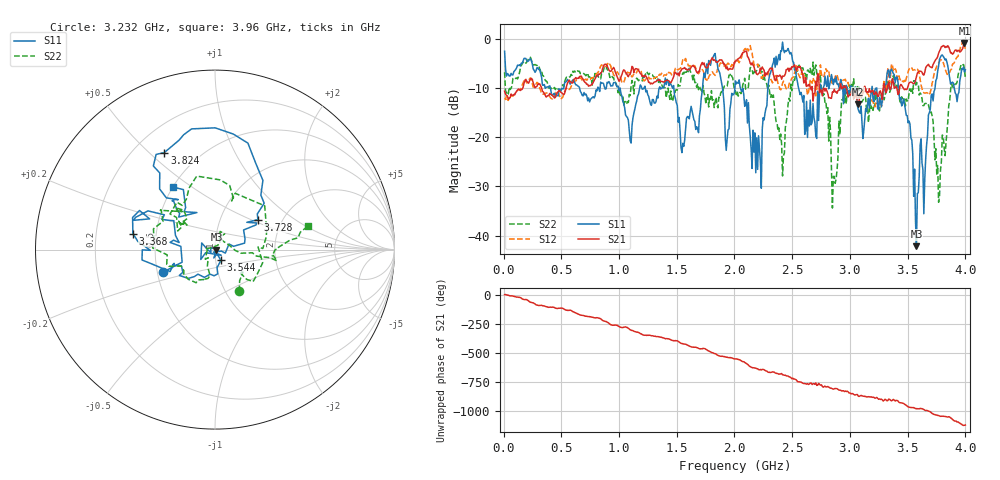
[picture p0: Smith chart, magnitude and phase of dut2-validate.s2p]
!Created with skrf (http://scikit-rf.org).
# GHz S DB R 50.0
!freq dBS11 angS11 dBS21 angS21 dBS12 angS12 dBS22 angS22
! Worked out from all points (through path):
!   500 points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, 8.998 MHz to 4 GHz, reference 50 ohm
!   highest |S21| = -0.86 dB at 3.992 GHz (marker M1); lowest = -13.3 dB at 3.072 GHz (marker M2)
!   group delay of S21, straight-line fit = 781 ps
!   lowest |S11| = -42.1 dB at 3.576 GHz (marker M3), VSWR 1.02, Z = 50.8 - j0.0765 ohm
!   |S11| at or under -10 dB: 1.475 GHz to 1.723 GHz (248.2 MHz wide, 15.5 % of centre); 2.051 GHz to 2.289 GHz (237.8 MHz wide, 11 % of centre); 3.42 GHz to 3.737 GHz (316.7 MHz wide, 8.85 % of centre)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
!   |S22| runs from -34.4 to -3.7 dB; largest |S21 - S12| = 0.49
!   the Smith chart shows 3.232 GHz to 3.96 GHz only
!   S11 on the Smith chart (normalised r, x): 3.232 GHz: 0.54, -0.15; 3.368 GHz: 0.37, +0.08; 3.544 GHz: 1.06, -0.13; 3.728 GHz: 1.51, +0.55; 3.824 GHz: 0.32, +0.56; 3.96 GHz: 0.50, +0.42
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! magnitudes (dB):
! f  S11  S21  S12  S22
! 8.998 MHz  -2.5  -10.7  -12.1  -6.8
! 680.8 MHz  -11.5  -8.0  -8.5  -7.1
! 1.345 GHz  -10.2  -8.3  -7.4  -9.0
! 1.553 GHz  -21.2  -6.1  -4.2  -6.9
! 1.817 GHz  -3.6  -4.4  -7.1  -12.4
! 1.937 GHz  -20.3  -5.7  -5.2  -9.6
! 2.008 GHz  -8.6  -4.6  -4.4  -10.6
! 2.216 GHz  -22.3  -6.9  -5.5  -5.6
! 2.416 GHz  -0.7  -7.6  -9.0  -27.9
! 2.672 GHz  -17.0  -9.7  -9.0  -7.4
! 2.864 GHz  -8.2  -10.2  -8.4  -28.0
! 3.072 GHz  -14.4  -13.3  -11.9  -10.8
! 3.232 GHz  -10.0  -11.2  -13.2  -11.4
! 3.336 GHz  -6.3  -8.7  -7.6  -9.5
! 3.368 GHz  -6.6  -8.1  -5.4  -8.2
! 3.544 GHz  -23.4  -9.0  -6.4  -11.1
! 3.576 GHz  -42.1  -7.7  -6.0  -8.8
! 3.728 GHz  -10.7  -4.9  -7.2  -20.0
! 3.824 GHz  -4.3  -1.8  -6.2  -23.7
! 3.96 GHz  -7.5  -2.6  -1.5  -5.5
! 3.992 GHz  -6.8  -0.9  -1.1  -6.3
! 4 GHz  -6.3  -1.1  -2.3  -8.0
